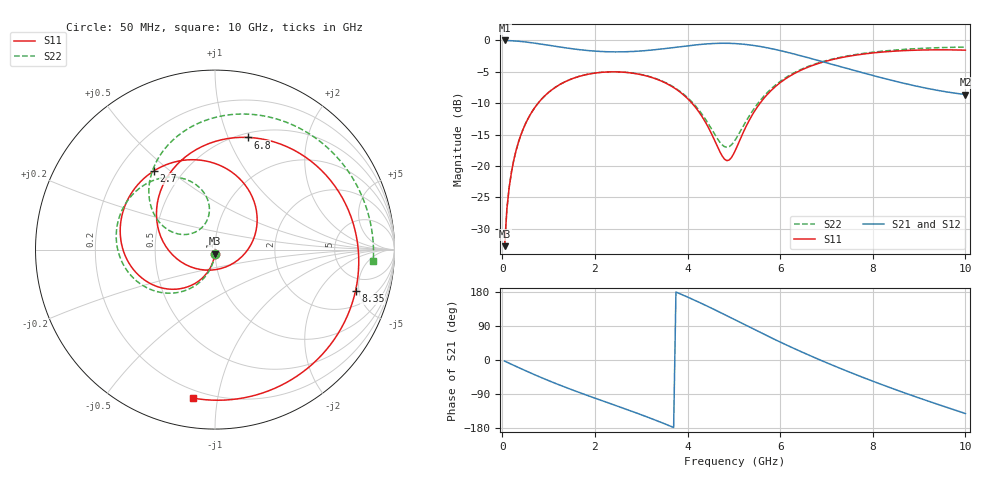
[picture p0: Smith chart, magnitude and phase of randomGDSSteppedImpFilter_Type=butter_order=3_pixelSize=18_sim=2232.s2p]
! freq	dB(S11)	phase(S11)	dB(S12)	phase(S12)
!  dB(S21)	phase(S21)	dB(S22)	phase(S22)
!S-par simulation data
#  GHz  S  DB  R 50
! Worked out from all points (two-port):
!   200 points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, 50 MHz to 10 GHz, reference 50 ohm
!   highest |S21| = -0.01 dB at 50 MHz (marker M1); lowest = -8.6 dB at 10 GHz (marker M2)
!   |S21| within 3 dB of the highest: start of sweep to 6.73 GHz
!   lowest |S11| = -32.7 dB at 50 MHz (marker M3), VSWR 1.05, Z = 49.8 - j2.29 ohm
!   |S11| at or under -10 dB: start of sweep to 772.7 MHz; 4.096 GHz to 5.565 GHz (1.469 GHz wide, 30.4 % of centre)
!   |S22| runs from -32.7 to -1.1 dB; largest |S21 - S12| = 0
!   S11 on the Smith chart (normalised r, x): 50 MHz: 1.00, -0.05; 2.7 GHz: 0.35, +0.44; 6.8 GHz: 0.54, +1.18; 8.35 GHz: 3.35, -4.60; 10 GHz: 0.15, -0.85
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0.05  -32.75 -93.1  -0.01 -2.9  -0.01 -2.9  -32.74 -92.8
0.1  -26.79 -96.3  -0.02 -5.8  -0.02 -5.8  -26.76 -95.7
0.2  -20.87 -102.4  -0.05 -11.5  -0.05 -11.5  -20.85 -101.3
0.5  -13.28 -120.2  -0.25 -28.2  -0.25 -28.2  -13.28 -117.2
1.1  -7.70 -153.4  -0.89 -59.4  -0.89 -59.4  -7.69 -146.5
1.75  -5.55 174.0  -1.54 -89.7  -1.54 -89.7  -5.54 -174.4
2.7  -5.11 127.9  -1.80 -131.1  -1.80 -131.1  -5.09 149.2
3.4  -6.36 90.3  -1.40 -163.2  -1.40 -163.2  -6.31 123.5
3.85  -8.28 61.7  -1.00 174.2  -1.00 174.2  -8.18 107.9
4.25  -11.43 29.6  -0.66 152.3  -0.66 152.3  -11.13 98.2
4.8  -18.91 -59.3  -0.45 119.8  -0.45 119.8  -16.92 121.3
5.05  -17.21 -126.5  -0.51 104.5  -0.51 104.5  -15.61 148.4
5.45  -11.23 176.4  -0.83 80.0  -0.83 80.0  -10.71 156.9
5.85  -7.66 140.8  -1.37 56.1  -1.37 56.1  -7.41 146.5
6.25  -5.50 110.8  -2.07 33.2  -2.07 33.2  -5.35 131.7
6.7  -3.98 80.3  -2.95 8.6  -2.95 8.6  -3.88 114.0
6.8  -3.73 73.8  -3.15 3.3  -3.15 3.3  -3.64 110.1
7.2  -2.93 48.8  -3.97 -17.2  -3.97 -17.2  -2.85 94.6
7.65  -2.32 22.3  -4.88 -39.4  -4.88 -39.4  -2.23 77.4
8.35  -1.77 -16.3  -6.25 -71.9  -6.25 -71.9  -1.61 51.7
9.2  -1.51 -59.5  -7.67 -108.7  -7.67 -108.7  -1.21 22.1
10  -1.55 -98.6  -8.61 -141.3  -8.61 -141.3  -1.07 -4.1
